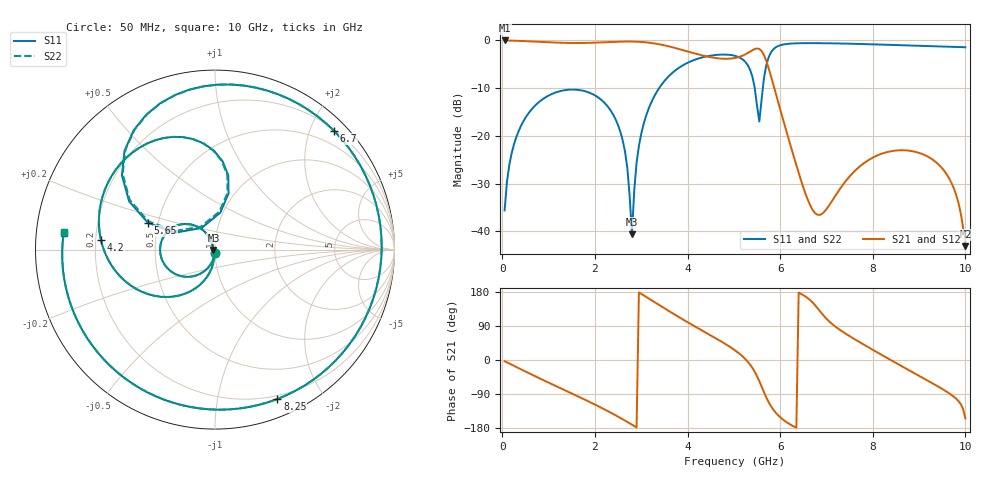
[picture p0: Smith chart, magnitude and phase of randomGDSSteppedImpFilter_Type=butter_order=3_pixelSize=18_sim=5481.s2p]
! freq	dB(S11)	phase(S11)	dB(S12)	phase(S12)
!  dB(S21)	phase(S21)	dB(S22)	phase(S22)
!S-par simulation data
#  GHz  S  DB  R 50
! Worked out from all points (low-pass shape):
!   200 points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, 50 MHz to 10 GHz, reference 50 ohm
!   highest |S21| = -0.01 dB at 50 MHz (marker M1); lowest = -43.1 dB at 10 GHz (marker M2)
!   |S21| within 3 dB of the highest: start of sweep to 4.265 GHz; 5.229 GHz to 5.648 GHz (418.8 MHz wide, 7.7 % of centre)
!   lowest |S11| = -40.6 dB at 2.8 GHz (marker M3), VSWR 1.02, Z = 49.1 - j0.254 ohm
!   |S11| at or under -10 dB: start of sweep to 3.386 GHz; 5.452 GHz to 5.626 GHz (174.4 MHz wide, 3.15 % of centre)
!   |S22| runs from -40.2 to -0.6 dB; largest |S21 - S12| = 0
!   S11 on the Smith chart (normalised r, x): 50 MHz: 1.00, -0.03; 4.2 GHz: 0.22, +0.04; 5.65 GHz: 0.44, +0.16; 6.7 GHz: 0.22, +2.40; 8.25 GHz: 0.17, -1.49; 10 GHz: 0.08, +0.05
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0.05  -35.60 -92.8  -0.01 -3.1  -0.01 -3.1  -35.60 -92.8
0.2  -23.71 -102.4  -0.04 -12.3  -0.04 -12.3  -23.71 -102.4
0.5  -16.20 -120.9  -0.15 -30.4  -0.15 -30.4  -16.20 -120.9
1.75  -10.55 167.0  -0.53 -102.7  -0.53 -102.7  -10.54 167.1
2.55  -19.15 119.3  -0.26 -152.9  -0.26 -152.9  -19.15 119.6
2.7  -26.69 113.8  -0.23 -163.4  -0.23 -163.4  -26.67 114.6
2.8  -40.59 -164.0  -0.24 -170.6  -0.24 -170.6  -40.17 -164.1
2.95  -22.09 -97.6  -0.28 178.4  -0.28 178.4  -22.08 -98.1
3.4  -9.80 -127.9  -0.82 144.2  -0.82 144.2  -9.80 -128.0
4.2  -3.90 175.0  -2.84 85.8  -2.84 85.8  -3.90 175.0
5.05  -3.30 114.6  -3.62 23.3  -3.62 23.3  -3.29 114.8
5.35  -6.12 85.1  -2.35 -12.0  -2.35 -12.0  -6.10 85.7
5.55  -16.98 121.7  -1.78 -55.9  -1.78 -55.9  -16.47 121.4
5.65  -7.92 158.2  -3.04 -84.9  -3.04 -84.9  -7.85 157.0
5.8  -2.54 132.4  -7.41 -121.6  -7.41 -121.6  -2.53 131.8
6.05  -0.89 99.1  -16.14 -156.1  -16.14 -156.1  -0.89 98.7
6.7  -0.57 44.9  -35.48 151.9  -35.48 151.9  -0.57 44.6
7.45  -0.67 -10.0  -29.04 66.7  -29.04 66.7  -0.68 -10.3
8.25  -0.89 -67.3  -23.54 9.4  -23.54 9.4  -0.90 -67.7
8.35  -0.93 -74.3  -23.29 2.5  -23.29 2.5  -0.93 -74.7
9.5  -1.28 -152.1  -26.79 -76.4  -26.79 -76.4  -1.28 -152.5
10  -1.43 173.9  -43.08 -154.1  -43.08 -154.1  -1.43 173.4
